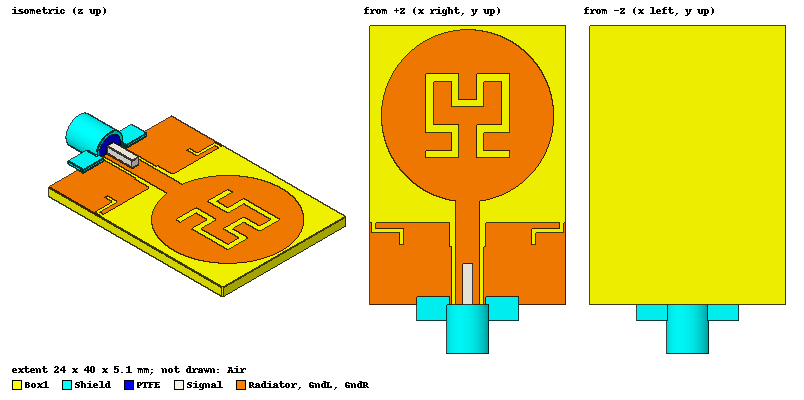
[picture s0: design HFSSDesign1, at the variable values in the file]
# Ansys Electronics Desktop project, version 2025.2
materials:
  vacuum: permittivity=1
  FR4_paper: permittivity=4.4 dielectric_loss_tangent=0.025
  PTFE_sma: permittivity=2.1 dielectric_loss_tangent=0.0002
  pec: conductivity=1e+30

design HFSSDesign1 (HFSS, HFSS Modal Network, model units mm)
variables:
  ws = 24mm
  ls = 34mm
  h = 1.6mm
  a = 10.5mm
  wf = 3mm
  lf = 12.5mm
  g = 0.5mm
  lg = 10mm
  lc = 6mm
  rp = 0.635mm
  rd = 2.05mm
  rt = 2.55mm
  pad = 32mm
  cy = -ls/2+lf+a
  gw = ws/2-wf/2-g
  zc = h+rp
  ap = 32mm
  S = 0.9mm
  dd = 3.1mm
  x0 = -1.5*dd
  y0 = cy-1.5*dd
  w1 = 4.5mm
  l1 = 3mm
  ws1 = 3.5mm
  ls1 = 1mm
  ls2 = 1.5mm
  wd = 0.5mm
  xs = -ws/2+0.5mm
  yt = -ls/2+lg
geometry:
  Box1 [FR4_paper] = box(corner=(-ws/2, -ls/2, 0), size=(ws, ls, h))
  Feed = rectangle(corner=(-wf/2, -ls/2, h), x_size=wf, y_size=lf+1mm)
  Radiator = circle(normal=Z, centre=(0mm, cy, h), radius=a)
  GndL = rectangle(corner=(-ws/2, -ls/2, h), x_size=gw, y_size=lg)
  GndR = rectangle(corner=(wf/2+g, -ls/2, h), x_size=gw, y_size=lg)
  Radiator.unite(Feed)
  PTFE [PTFE_sma] = cylinder(axis=Y, base_centre=(0mm, -ls/2-lc, zc), radius=rd, height=lc)
  Shield [pec] = cylinder(axis=Y, base_centre=(0mm, -ls/2-lc, zc), radius=rt, height=lc)
  Signal [pec] = cylinder(axis=Y, base_centre=(0mm, -ls/2-lc, zc), radius=rp, height=lc)
  PTFE_1 = PTFE.copy()
  Shield.subtract(PTFE_1)
  Pin_1 = Signal.copy()
  PTFE.subtract(Pin_1)
  tab = box(corner=(-rp, -ls/2, h), size=(2*rp, 5mm, 2*rp))
  Signal.unite(tab)
  PadL = box(corner=(-6.2mm, -ls/2-2mm, h), size=(4mm, 3mm, 0.5mm))
  PadR = box(corner=(2.2mm, -ls/2-2mm, h), size=(4mm, 3mm, 0.5mm))
  Shield.unite(PadL, PadR)
  Air [vacuum] = box(corner=(-ws/2-ap, -ls/2-lc, -ap), size=(ws+2*ap, ls+lc+ap, h+2*ap))
  SlotTool = rectangle(corner=(x0-S/2, y0-S/2, h), x_size=dd+S, y_size=S)
  R2 = rectangle(corner=(x0+dd-S/2, y0-S/2, h), x_size=S, y_size=dd+S)
  R3 = rectangle(corner=(x0-S/2, y0+dd-S/2, h), x_size=dd+S, y_size=S)
  R4 = rectangle(corner=(x0-S/2, y0+dd-S/2, h), x_size=S, y_size=2*dd+S)
  R5 = rectangle(corner=(x0-S/2, y0+3*dd-S/2, h), x_size=dd+S, y_size=S)
  R6 = rectangle(corner=(x0+dd-S/2, y0+2*dd-S/2, h), x_size=S, y_size=dd+S)
  R7 = rectangle(corner=(x0+dd-S/2, y0+2*dd-S/2, h), x_size=dd+S, y_size=S)
  R8 = rectangle(corner=(x0+2*dd-S/2, y0+2*dd-S/2, h), x_size=S, y_size=dd+S)
  R9 = rectangle(corner=(x0+2*dd-S/2, y0+3*dd-S/2, h), x_size=dd+S, y_size=S)
  R10 = rectangle(corner=(x0+3*dd-S/2, y0+dd-S/2, h), x_size=S, y_size=2*dd+S)
  R11 = rectangle(corner=(x0+2*dd-S/2, y0+dd-S/2, h), x_size=dd+S, y_size=S)
  R12 = rectangle(corner=(x0+2*dd-S/2, y0-S/2, h), x_size=S, y_size=dd+S)
  R13 = rectangle(corner=(x0+2*dd-S/2, y0-S/2, h), x_size=dd+S, y_size=S)
  SlotTool.unite(R2..R13)
  SlotTool_1 = SlotTool.copy()
  SlotTool.delete()
  Radiator.subtract(SlotTool_1)
  Notch = rectangle(corner=(-w1/2, -ls/2+lg-l1, h), x_size=w1, y_size=l1)
  Notch_1 = Notch.copy()
  GndL.subtract(Notch_1)
  Notch_2 = Notch.copy()
  Notch.delete()
  GndR.subtract(Notch_2)
  DGS_L = rectangle(corner=(xs-wd/2, yt-ls1-wd/2, h), x_size=wd, y_size=ls1+wd/2)
  DB = rectangle(corner=(xs-wd/2, yt-ls1-wd/2, h), x_size=ws1+wd, y_size=wd)
  DC = rectangle(corner=(xs+ws1-wd/2, yt-ls1-ls2-wd/2, h), x_size=wd, y_size=ls2+wd)
  DGS_L.unite(DB, DC)
  DGS_L_1 = DGS_L.copy()
  DGS_L.delete()
  GndL.subtract(DGS_L_1)
  DA_R = rectangle(corner=(-xs-wd/2, yt-ls1-wd/2, h), x_size=wd, y_size=ls1+wd/2)
  DB_R = rectangle(corner=(-xs-ws1-wd/2, yt-ls1-wd/2, h), x_size=ws1+wd, y_size=wd)
  DGS_R = rectangle(corner=(-xs-ws1-wd/2, yt-ls1-ls2-wd/2, h), x_size=wd, y_size=ls2+wd)
  DGS_R.unite(DB_R, DA_R)
  DGS_R_1 = DGS_R.copy()
  DGS_R.delete()
  GndR.subtract(DGS_R_1)
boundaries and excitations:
  PerfE1: Perfect E Objects=[Radiator, GndR, GndL]
  Rad1: Radiation Faces=Air.face(all 6)
  1: Wave Port Faces=PTFE.face(-y end) WavePortType=Modal NumModes=1 Modes{Mode1{CharImp=Zpi RenormImp=50ohm}}
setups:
  Setup2: HfssDriven MultipleAdaptiveFreqsSetup{AdaptAt{Frequency=2.45GHz Delta=0.02} AdaptAt{Frequency=3.6GHz Delta=0.02} AdaptAt{Frequency=5.7GHz Delta=0.02}} MaximumPasses=15 MinimumPasses=1 MinimumConvergedPasses=1 PercentRefinement=30 BasisOrder=1 PortAccuracy=2 DrivenSolverType="Direct Solver"
    sweep Sweep: 2GHz to 6.5GHz step 0.01GHz; Type=Interpolating InterpTolerance=0.5 InterpMaxSolns=250 InterpUsePortImped=false PassivityErrorTolerance=0.0001
    sweep Sweep1: 2.3GHz to 2.6GHz step 0.0025GHz; Type=Discrete
    sweep Sweep2: point 2.45GHz; point 3.6GHz; point 5.8GHz; Type=Discrete SaveFields
    sweep For_Gain_vs_Freq: 2.2GHz to 2.6GHz step 0.05GHz; 3GHz to 6.4GHz step 0.2GHz; Type=Discrete SaveFields
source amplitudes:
  1:1: 1W 0deg
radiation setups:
  Infinite Sphere1: Infinite Sphere Theta=-180deg..180deg step 2deg Phi=0deg..360deg step 2deg
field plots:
  2.4GHz CD, 5.8GHz CD: Jsurf over GndL.face(at (-7, -12, 1.6)) GndR.face(at (7, -12, 1.6)) Radiator.face(at (0, -0.1495, 1.6)) on Setup2 : LastAdaptive at Freq=2.45GHz Phase=0deg
  3.6GHz CD: Jsurf over GndL.face(at (-7, -12, 1.6)) GndR.face(at (7, -12, 1.6)) Radiator.face(at (0, -0.1495, 1.6)) on Setup2 : LastAdaptive at Freq=3.6GHz Phase=0deg
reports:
  S Parameter Plot1: dB(S(1,1)) vs Freq on Setup2 : Sweep; dB(S(1,1)), dB(S(1,1)), dB(S(1,1))_1 vs Freq
  2.45 XZ-plane(H-plane): dB(GainTotal) vs Theta on Setup2 : Sweep2, Infinite Sphere1 [Phi=0deg Freq=2.45GHz]
  3.6 XZ-plane(H-plane): dB(GainTotal) vs Theta on Setup2 : Sweep2, Infinite Sphere1 [Phi=0deg Freq=3.6GHz]
  5.7 XZ-plane(H-plane): dB(GainTotal) vs Theta on Setup2 : LastAdaptive, Infinite Sphere1 [Phi=0deg Freq=5.7GHz]
  2.45 YZ-plane(E-plane): dB(GainTotal) vs Theta on Setup2 : Sweep2, Infinite Sphere1 [Phi=90deg Freq=2.45GHz]
  3.6 YZ-plane(E-plane): dB(GainTotal) vs Theta on Setup2 : Sweep2, Infinite Sphere1 [Phi=90deg Freq=3.6GHz]
  5.8 YZ-plane(E-plane): dB(GainTotal) vs Theta on Setup2 : Sweep2, Infinite Sphere1 [Phi=90deg Freq=5.8GHz]
  2.45 GHz: dB(GainTotal) vs Phi, Theta on Setup2 : Sweep2, Infinite Sphere1 [Freq=2.45GHz]
  3.6 GHZ: dB(GainTotal) vs Phi, Theta on Setup2 : Sweep2, Infinite Sphere1 [Freq=3.6GHz]
  5.8 GHz: dB(GainTotal) vs Phi, Theta on Setup2 : Sweep2, Infinite Sphere1 [Freq=5.8GHz]
  Gain Plot1: dB(GainTotal) vs Freq on Setup2 : For_Gain_vs_Freq, Infinite Sphere1 [Phi=0deg Theta=0deg]
